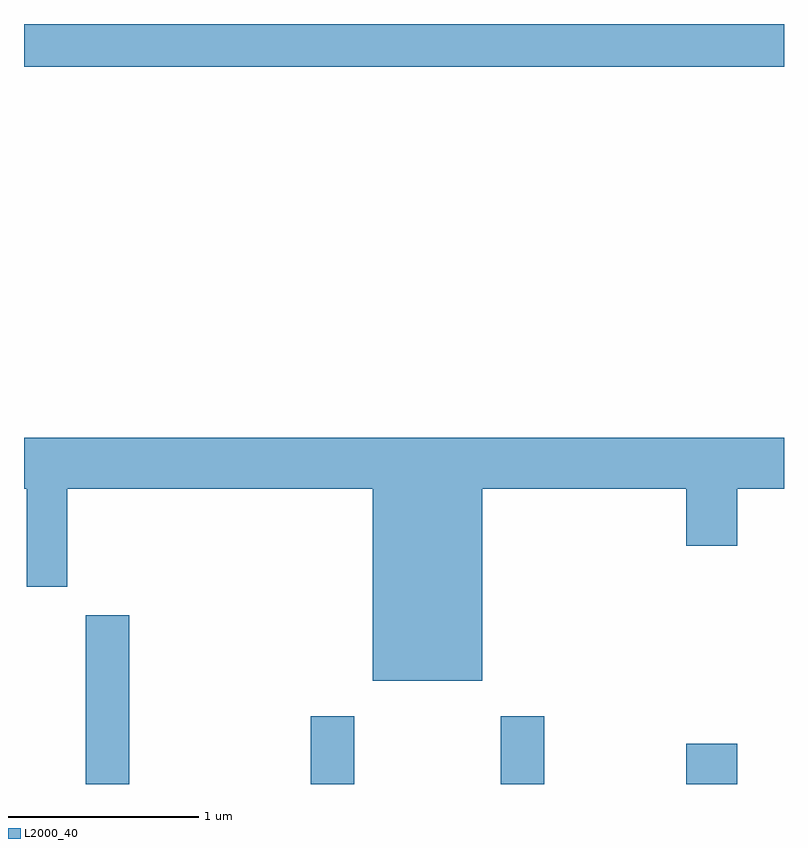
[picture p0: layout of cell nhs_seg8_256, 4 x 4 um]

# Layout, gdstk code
import gdstk
lib = gdstk.Library(unit=1e-6, precision=1e-09)
def R(c, l, rs):  # rectangles x0, y0, x1, y1
    for r in rs: c.add(gdstk.rectangle(r[:2], r[2:], *l))
def P(c, l, *ps):  # polygons
    for p in ps: c.add(gdstk.Polygon(p, *l))
L2000_40 = (2000, 40)

nhs_seg8_256 = lib.new_cell('nhs_seg8_256')
R(nhs_seg8_256, L2000_40, [(191.936,1910.342,192.164,1911.229), (193.121,1910.342,193.349,1910.699), (194.121,1910.342,194.349,1910.699), (195.096,1910.342,195.364,1910.554), (191.611,1914.116,195.611,1914.342)])
P(nhs_seg8_256, L2000_40, [(194.024,1911.896),(195.096,1911.896),(195.096,1911.596),(195.364,1911.596),(195.364,1911.896),(195.611,1911.896),(195.611,1912.164),(191.611,1912.164),(191.611,1911.896),(191.626,1911.896),(191.626,1911.381),(191.839,1911.381),(191.839,1911.896),(193.446,1911.896),(193.446,1910.886),(194.024,1910.886)])

lib.write_gds('nhs_seg8_256.gds')
